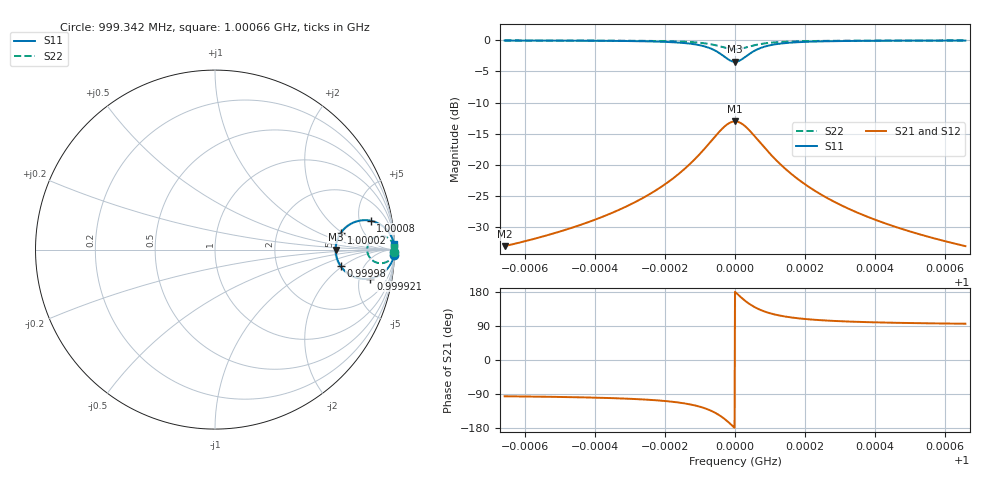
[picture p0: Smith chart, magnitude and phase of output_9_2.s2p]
! File generated for n1 = 9, n2 = 2
! b1 = 0.215443
! b2 = 0.100000
! Q0 = 10000.000000
! f0 = 1000000000.000000
! n = 1001
! rel_span = 10.000000
# Hz S RI R 50
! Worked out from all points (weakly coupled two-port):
!   1001 points, 999.342 MHz to 1.00066 GHz, reference 50 ohm
!   highest |S21| = -13.03 dB at 1 GHz (marker M1); lowest = -33.1 dB at 999.342 MHz (marker M2)
!   lowest |S11| = -3.4 dB at 1 GHz (marker M3), VSWR 5.11, Z = 255 + j0 ohm
!   |S11| at or under -10 dB: nowhere
!   |S22| runs from -1.4 to 0.0 dB; largest |S21 - S12| = 0
!   S11 on the Smith chart (normalised r, x): 999.342 MHz: 5, -61; 999.921 MHz: 5.11, -7.33; 999.98 MHz: 5.11, -1.83; 1.00002 GHz: 5.11, +1.95; 1.00008 GHz: 5.11, +7.45; 1.00066 GHz: 5, +61
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9.993423e8  0.9968 -0.0324  -0.00221 -0.0221  -0.00221 -0.0221  0.9985 -0.015
9.994554e8  0.9953 -0.039  -0.00321 -0.0266  -0.00321 -0.0266  0.9978 -0.0181
9.99562e8  0.9928 -0.0481  -0.00492 -0.0328  -0.00492 -0.0328  0.9966 -0.0223
9.99683e8  0.9865 -0.0651  -0.00921 -0.0444  -0.00921 -0.0444  0.9937 -0.0302
9.997816e8  0.9728 -0.0904  -0.0186 -0.0616  -0.0186 -0.0616  0.9874 -0.042
9.998658e8  0.9365 -0.1295  -0.0432 -0.0882  -0.0432 -0.0882  0.9705 -0.0601
9.998961e8  0.9063 -0.148  -0.0638 -0.1008  -0.0638 -0.1008  0.9565 -0.0687
9.999211e8  0.8658 -0.1611  -0.0915 -0.1098  -0.0915 -0.1098  0.9377 -0.0748
9.99954e8  0.7802 -0.1539  -0.1498 -0.1048  -0.1498 -0.1048  0.898 -0.0714
9.999671e8  0.738 -0.131  -0.1785 -0.0893  -0.1785 -0.0893  0.8784 -0.0608
9.999803e8  0.6995 -0.0902  -0.2047 -0.0614  -0.2047 -0.0614  0.8605 -0.0418
1e9  0.6724 0  -0.2232 0  -0.2232 0  0.848 0
1.000021e9  0.7029 0.0951  -0.2024 0.0648  -0.2024 0.0648  0.8621 0.0441
1.000046e9  0.7802 0.1539  -0.1498 0.1048  -0.1498 0.1048  0.898 0.0714
1.00008e9  0.8684 0.1606  -0.0897 0.1094  -0.0897 0.1094  0.9389 0.0745
1.000105e9  0.908 0.1472  -0.0627 0.1003  -0.0627 0.1003  0.9573 0.0683
1.000135e9  0.9375 0.1287  -0.0426 0.0877  -0.0426 0.0877  0.971 0.0597
1.00022e9  0.973 0.09  -0.0184 0.0613  -0.0184 0.0613  0.9875 0.0418
1.000318e9  0.9866 0.0649  -0.00914 0.0442  -0.00914 0.0442  0.9938 0.0301
1.000439e9  0.9928 0.048  -0.00489 0.0327  -0.00489 0.0327  0.9967 0.0223
1.000546e9  0.9953 0.0389  -0.00319 0.0265  -0.00319 0.0265  0.9978 0.0181
1.000658e9  0.9968 0.0324  -0.00221 0.0221  -0.00221 0.0221  0.9985 0.0151
